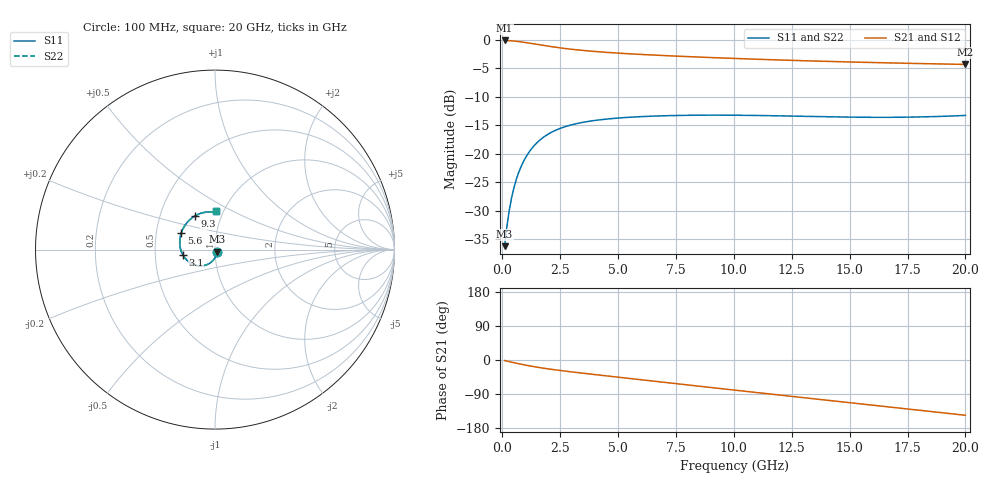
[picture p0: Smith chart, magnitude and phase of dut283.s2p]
! Created with skrf 1.9.0 (http://scikit-rf.org).
# GHz S RI R 50.0
!freq ReS11 ImS11 ReS21 ImS21 ReS12 ImS12 ReS22 ImS22
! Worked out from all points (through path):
!   200 points, 100 MHz to 20 GHz, reference 50 ohm
!   highest |S21| = -0.11 dB at 100 MHz (marker M1); lowest = -4.3 dB at 20 GHz (marker M2)
!   group delay of S21, straight-line fit = 19.1 ps
!   lowest |S11| = -36.2 dB at 100 MHz (marker M3), VSWR 1.03, Z = 51.1 - j1.08 ohm
!   |S11| at or under -10 dB: start of sweep to end of sweep
!   |S22| runs from -36.2 to -13.2 dB; largest |S21 - S12| = 1.9e-15
!   S11 on the Smith chart (normalised r, x): 100 MHz: 1.02, -0.02; 3.1 GHz: 0.69, -0.04; 5.6 GHz: 0.67, +0.13; 9.3 GHz: 0.75, +0.30; 20 GHz: 0.92, +0.42
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0.1  0.0113 -0.0106  0.9873 -0.025  0.9873 -0.025  0.0113 -0.0106
0.2  0.00945 -0.021  0.9848 -0.0498  0.9848 -0.0498  0.00945 -0.021
0.3  0.00642 -0.0312  0.9808 -0.0741  0.9808 -0.0741  0.00642 -0.0312
0.4  0.00223 -0.0409  0.9754 -0.0978  0.9754 -0.0978  0.00223 -0.0409
0.5  -0.00306 -0.05  0.9687 -0.1207  0.9687 -0.1207  -0.00306 -0.05
0.7  -0.0164 -0.0658  0.9521 -0.1638  0.9521 -0.1638  -0.0164 -0.0658
1  -0.0413 -0.0824  0.9214 -0.2208  0.9214 -0.2208  -0.0413 -0.0824
1.4  -0.0774 -0.0908  0.8751 -0.2828  0.8751 -0.2828  -0.0774 -0.0908
1.8  -0.1111 -0.0864  0.8282 -0.3312  0.8282 -0.3312  -0.1111 -0.0864
2.4  -0.1507 -0.0647  0.7631 -0.3868  0.7631 -0.3868  -0.1507 -0.0647
3.1  -0.1795 -0.029  0.6959 -0.4375  0.6959 -0.4375  -0.1795 -0.029
3.5  -0.189 -0.00727  0.6606 -0.4627  0.6606 -0.4627  -0.189 -0.00727
5.6  -0.1878 0.0936  0.4889 -0.5713  0.4889 -0.5713  -0.1878 0.0936
6.8  -0.1669 0.1356  0.3912 -0.6171  0.3912 -0.6171  -0.1669 0.1356
9.3  -0.1101 0.1886  0.1848 -0.6704  0.1848 -0.6704  -0.1101 0.1886
10.1  -0.0922 0.1975  0.1193 -0.6753  0.1193 -0.6753  -0.0922 0.1975
11.7  -0.0602 0.2072  -0.00806 -0.6683  -0.00806 -0.6683  -0.0602 0.2072
13.4  -0.0338 0.2098  -0.1356 -0.6381  -0.1356 -0.6381  -0.0338 0.2098
15  -0.0164 0.2092  -0.2458 -0.5902  -0.2458 -0.5902  -0.0164 0.2092
16.7  -0.00455 0.2089  -0.3497 -0.5209  -0.3497 -0.5209  -0.00455 0.2089
18.4  0.00269 0.2113  -0.4376 -0.435  -0.4376 -0.435  0.00269 0.2113
20  0.00779 0.2169  -0.5035 -0.3416  -0.5035 -0.3416  0.00779 0.2169
